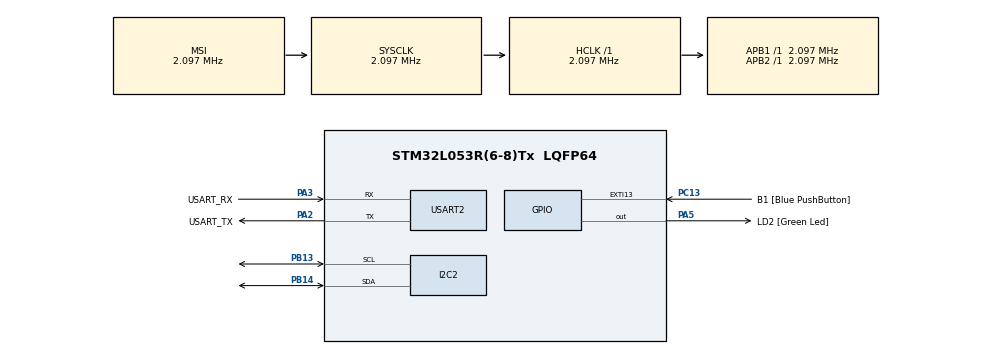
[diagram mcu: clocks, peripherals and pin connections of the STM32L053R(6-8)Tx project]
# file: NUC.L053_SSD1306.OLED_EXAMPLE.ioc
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Mcu.Family=STM32L0
Mcu.Name=STM32L053R(6-8)Tx
Mcu.Package=LQFP64
PA13.GPIO_Label=TMS
PA13.Signal=SYS_SWDIO
PA14.GPIO_Label=TCK
PA14.Signal=SYS_SWCLK
PA2.GPIO_Label=USART_TX
PA2.Mode=Asynchronous
PA2.Signal=USART2_TX
PA3.GPIO_Label=USART_RX
PA3.Mode=Asynchronous
PA3.Signal=USART2_RX
PA5.GPIO_Label=LD2 [Green Led]
PA5.Signal=GPIO_Output
PB13.Mode=I2C
PB13.Signal=I2C2_SCL
PB14.Mode=I2C
PB14.Signal=I2C2_SDA
PB8.Signal=I2C1_SCL
PB9.Signal=I2C1_SDA
PC13.GPIO_Label=B1 [Blue PushButton]
PC13.GPIO_ModeDefaultEXTI=GPIO_MODE_IT_FALLING
PC13.Signal=GPXTI13
PC14-OSC32_IN.Signal=RCC_OSC32_IN
PC15-OSC32_OUT.Signal=RCC_OSC32_OUT
PH0-OSC_IN.Signal=RCC_OSC_IN
PH1-OSC_OUT.Signal=RCC_OSC_OUT
ProjectManager.HeapSize=0x200
ProjectManager.StackSize=0x400
ProjectManager.TargetToolchain=STM32CubeIDE
RCC.AHBFreq_Value=2097000
RCC.APB1Freq_Value=2097000
RCC.APB1TimFreq_Value=2097000
RCC.APB2Freq_Value=2097000
RCC.APB2TimFreq_Value=2097000
RCC.HSE_VALUE=8000000
RCC.HSI16_VALUE=16000000
RCC.HSI48_VALUE=48000000
RCC.HSI_VALUE=16000000
RCC.LSEState=RCC_LSE_ON
RCC.LSE_VALUE=32768
RCC.MSI_VALUE=2097000
RCC.SYSCLKFreq_VALUE=2097000
RCC.VCOOutputFreq_Value=48000000
USART2.VirtualMode-Asynchronous=VM_ASYNC
board=NUCLEO-L053R8

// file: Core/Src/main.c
/* USER CODE BEGIN Header */
/**
 ******************************************************************************
 * @file           : main.c
 * @brief          : Main program body
 ******************************************************************************
 * @attention
 *
 * Copyright (c) 2023 STMicroelectronics.
 * All rights reserved.
 *
 * This software is licensed under terms that can be found in the LICENSE file
 * in the root directory of this software component.
 * If no LICENSE file comes with this software, it is provided AS-IS.
 *
 ******************************************************************************
 */
/* USER CODE END Header */
#include "main.h"

/* USER CODE BEGIN Includes */
#include "ssd1306.h"
#include "fonts.h"
/* USER CODE END Includes */

I2C_HandleTypeDef hi2c2;

UART_HandleTypeDef huart2;

void SystemClock_Config(void);
static void MX_GPIO_Init(void);
static void MX_USART2_UART_Init(void);
static void MX_I2C2_Init(void);

int main(void) {

	/* MCU Configuration--------------------------------------------------------*/

	/* Reset of all peripherals, Initializes the Flash interface and the Systick. */
	HAL_Init();

	/* Configure the system clock */
	SystemClock_Config();

	/* Initialize all configured peripherals */
	MX_GPIO_Init();
	MX_USART2_UART_Init();
	MX_I2C2_Init();
	/* USER CODE BEGIN 2 */
	SSD1306_Init();
	/* USER CODE END 2 */

	/* Infinite loop */
	/* USER CODE BEGIN WHILE */
	SSD1306_GotoXY(0, 0);
	SSD1306_Puts("HELLO", &Font_11x18, 1);
	SSD1306_GotoXY(10, 30);
	SSD1306_Puts("  WORLD :)", &Font_11x18, 1);
	SSD1306_UpdateScreen(); //display

	//HAL_Delay(2000);
	while (1) {
		SSD1306_Clear();
		SSD1306_GotoXY(0, 0);
		SSD1306_Puts(" USER ", &Font_7x10, 1);
		SSD1306_GotoXY(10, 30);
		SSD1306_Puts("  APP :)", &Font_7x10, 1);
		SSD1306_UpdateScreen(); //display
		//HAL_Delay(500);
		SSD1306_GotoXY(0, 0);
		SSD1306_Clear();
		SSD1306_Puts("USER APP", &Font_7x10, 1);
		SSD1306_GotoXY(10, 30);
		SSD1306_Puts("  WORKING :)", &Font_7x10, 1);
		SSD1306_UpdateScreen(); //display
		SSD1306_Clear();
		/* USER CODE END WHILE */

	}
}

void SystemClock_Config(void) {
	RCC_OscInitTypeDef RCC_OscInitStruct = { 0 };
	RCC_ClkInitTypeDef RCC_ClkInitStruct = { 0 };
	RCC_PeriphCLKInitTypeDef PeriphClkInit = { 0 };

	/** Configure the main internal regulator output voltage
	 */
	__HAL_PWR_VOLTAGESCALING_CONFIG(PWR_REGULATOR_VOLTAGE_SCALE1);

	/** Initializes the RCC Oscillators according to the specified parameters
	 * in the RCC_OscInitTypeDef structure.
	 */
	RCC_OscInitStruct.OscillatorType = RCC_OSCILLATORTYPE_MSI;
	RCC_OscInitStruct.MSIState = RCC_MSI_ON;
	RCC_OscInitStruct.MSICalibrationValue = 0;
	RCC_OscInitStruct.MSIClockRange = RCC_MSIRANGE_5;
	RCC_OscInitStruct.PLL.PLLState = RCC_PLL_NONE;
	if (HAL_RCC_OscConfig(&RCC_OscInitStruct) != HAL_OK) {
		Error_Handler();
	}

	/** Initializes the CPU, AHB and APB buses clocks
	 */
	RCC_ClkInitStruct.ClockType = RCC_CLOCKTYPE_HCLK | RCC_CLOCKTYPE_SYSCLK
			| RCC_CLOCKTYPE_PCLK1 | RCC_CLOCKTYPE_PCLK2;
	RCC_ClkInitStruct.SYSCLKSource = RCC_SYSCLKSOURCE_MSI;
	RCC_ClkInitStruct.AHBCLKDivider = RCC_SYSCLK_DIV1;
	RCC_ClkInitStruct.APB1CLKDivider = RCC_HCLK_DIV1;
	RCC_ClkInitStruct.APB2CLKDivider = RCC_HCLK_DIV1;

	if (HAL_RCC_ClockConfig(&RCC_ClkInitStruct, FLASH_LATENCY_0) != HAL_OK) {
		Error_Handler();
	}
	PeriphClkInit.PeriphClockSelection = RCC_PERIPHCLK_USART2;
	PeriphClkInit.Usart2ClockSelection = RCC_USART2CLKSOURCE_PCLK1;
	if (HAL_RCCEx_PeriphCLKConfig(&PeriphClkInit) != HAL_OK) {
		Error_Handler();
	}
}

static void MX_I2C2_Init(void) {

	hi2c2.Instance = I2C2;
	hi2c2.Init.Timing = 0x00000708;
	hi2c2.Init.OwnAddress1 = 0;
	hi2c2.Init.AddressingMode = I2C_ADDRESSINGMODE_7BIT;
	hi2c2.Init.DualAddressMode = I2C_DUALADDRESS_DISABLE;
	hi2c2.Init.OwnAddress2 = 0;
	hi2c2.Init.OwnAddress2Masks = I2C_OA2_NOMASK;
	hi2c2.Init.GeneralCallMode = I2C_GENERALCALL_DISABLE;
	hi2c2.Init.NoStretchMode = I2C_NOSTRETCH_DISABLE;
	if (HAL_I2C_Init(&hi2c2) != HAL_OK) {
		Error_Handler();
	}

	/** Configure Analogue filter
	 */
	if (HAL_I2CEx_ConfigAnalogFilter(&hi2c2, I2C_ANALOGFILTER_ENABLE)
			!= HAL_OK) {
		Error_Handler();
	}

	/** Configure Digital filter
	 */
	if (HAL_I2CEx_ConfigDigitalFilter(&hi2c2, 0) != HAL_OK) {
		Error_Handler();
	}

}

static void MX_USART2_UART_Init(void) {

	huart2.Instance = USART2;
	huart2.Init.BaudRate = 115200;
	huart2.Init.WordLength = UART_WORDLENGTH_8B;
	huart2.Init.StopBits = UART_STOPBITS_1;
	huart2.Init.Parity = UART_PARITY_NONE;
	huart2.Init.Mode = UART_MODE_TX_RX;
	huart2.Init.HwFlowCtl = UART_HWCONTROL_NONE;
	huart2.Init.OverSampling = UART_OVERSAMPLING_16;
	huart2.Init.OneBitSampling = UART_ONE_BIT_SAMPLE_DISABLE;
	huart2.AdvancedInit.AdvFeatureInit = UART_ADVFEATURE_NO_INIT;
	if (HAL_UART_Init(&huart2) != HAL_OK) {
		Error_Handler();
	}

}

static void MX_GPIO_Init(void) {
	GPIO_InitTypeDef GPIO_InitStruct = { 0 };

	/* GPIO Ports Clock Enable */
	__HAL_RCC_GPIOC_CLK_ENABLE();
	__HAL_RCC_GPIOH_CLK_ENABLE();
	__HAL_RCC_GPIOA_CLK_ENABLE();
	__HAL_RCC_GPIOB_CLK_ENABLE();

	/*Configure GPIO pin Output Level */
	HAL_GPIO_WritePin(LD2_GPIO_Port, LD2_Pin, GPIO_PIN_RESET);

	/*Configure GPIO pin : B1_Pin */
	GPIO_InitStruct.Pin = B1_Pin;
	GPIO_InitStruct.Mode = GPIO_MODE_IT_FALLING;
	GPIO_InitStruct.Pull = GPIO_NOPULL;
	HAL_GPIO_Init(B1_GPIO_Port, &GPIO_InitStruct);

	/*Configure GPIO pin : LD2_Pin */
	GPIO_InitStruct.Pin = LD2_Pin;
	GPIO_InitStruct.Mode = GPIO_MODE_OUTPUT_PP;
	GPIO_InitStruct.Pull = GPIO_NOPULL;
	GPIO_InitStruct.Speed = GPIO_SPEED_FREQ_LOW;
	HAL_GPIO_Init(LD2_GPIO_Port, &GPIO_InitStruct);

	/*Configure GPIO pins : PB8 PB9 */
	GPIO_InitStruct.Pin = GPIO_PIN_8 | GPIO_PIN_9;
	GPIO_InitStruct.Mode = GPIO_MODE_AF_OD;
	GPIO_InitStruct.Pull = GPIO_NOPULL;
	GPIO_InitStruct.Speed = GPIO_SPEED_FREQ_VERY_HIGH;
	GPIO_InitStruct.Alternate = GPIO_AF4_I2C1;
	HAL_GPIO_Init(GPIOB, &GPIO_InitStruct);

}

void Error_Handler(void) {
	__disable_irq();
	while (1) {
	}
}
